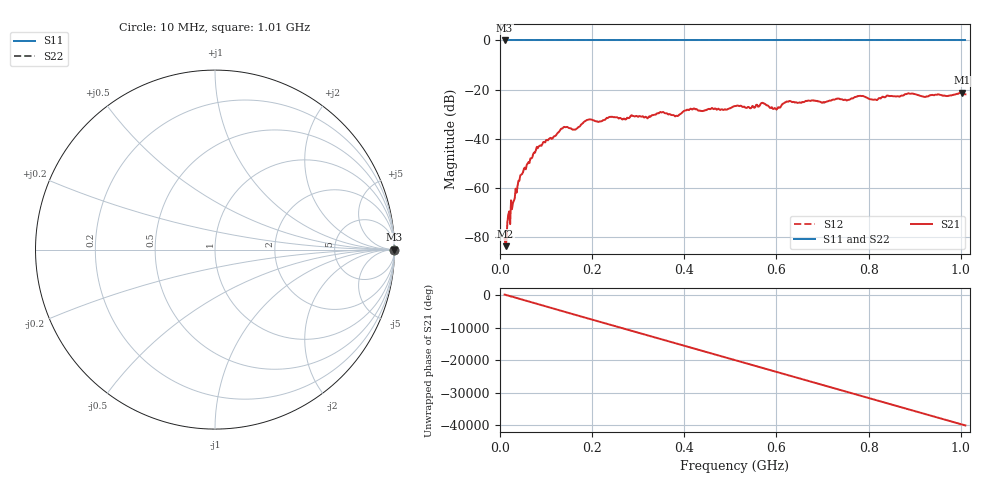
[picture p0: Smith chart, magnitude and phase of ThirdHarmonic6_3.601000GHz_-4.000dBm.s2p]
! 8/17/2025 12:00:18 PM
! C:\ANRITSUVNA\TEMP\TEMP.S2P
! CHANNEL.1
! TR.MEASUREMENT
! RAW.DATA
! RF.CORRECTION.OFF
! AVERAGING.OFF
! IF.BANDWIDTH: 5KHZ
! SWEEPTYPE:  FREQ.SWEEP(Linear)
! Reference Plane Port Info
! PORT:  PORT1  PORT2
! DISTANCE:  0  m  0  m
! TIME:  0  s  0  s
! PHASE.OFFSET:  0  deg.  0  deg.
! LOSS:  0  dB  0  dB
! REF.LOSS:  0  dB  0  dB
! REF.FREQ:  0  Hz  0  Hz
! Power Info
! POWER:  -20  dBm  -20  dBm
! EFF.POWER:  -20  dBm  -20  dBm
! SOURCE.ATTEN:  0  dB  0  dB
! TEST.ATTEN:  0  dB  0  dB
# GHZ S RI R 50.0
! FREQ.GHZ  S11RE  S11IM  S21RE  S21IM  S12RE  S12IM  S22RE  S22IM
!; PortSelection: Port_12
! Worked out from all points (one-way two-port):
!   501 points, 10 MHz to 1.01 GHz, reference 50 ohm
!   highest |S21| = -21.22 dB at 1.002 GHz (marker M1); lowest = -83.5 dB at 12 MHz (marker M2)
!   lowest |S11| = 0.0 dB at 10 MHz (marker M3)
!   |S11| at or under -10 dB: nowhere
!   |S22| runs from 0.0 to 0.0 dB; largest |S21 - S12| = 1.1
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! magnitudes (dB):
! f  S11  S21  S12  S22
! 10 MHz  0.0  -80.2  0.0  0.0
! 12 MHz  0.0  -83.5  0.0  0.0
! 20 MHz  0.0  -69.4  0.0  0.0
! 42 MHz  0.0  -57.0  0.0  0.0
! 76 MHz  0.0  -45.6  0.0  0.0
! 136 MHz  0.0  -35.7  0.0  0.0
! 162 MHz  0.0  -36.2  0.0  0.0
! 178 MHz  0.0  -33.9  0.0  0.0
! 192 MHz  0.0  -32.2  0.0  0.0
! 318 MHz  0.0  -31.2  0.0  0.0
! 344 MHz  0.0  -29.6  0.0  0.0
! 384 MHz  0.0  -30.6  0.0  0.0
! 410 MHz  0.0  -28.3  0.0  0.0
! 510 MHz  0.0  -26.6  0.0  0.0
! 570 MHz  0.0  -25.3  0.0  0.0
! 596 MHz  0.0  -27.5  0.0  0.0
! 626 MHz  0.0  -24.8  0.0  0.0
! 678 MHz  0.0  -24.3  0.0  0.0
! 814 MHz  0.0  -24.0  0.0  0.0
! 844 MHz  0.0  -22.5  0.0  0.0
! 1.002 GHz  0.0  -21.2  0.0  0.0
! 1.01 GHz  0.0  -21.9  0.0  0.0
